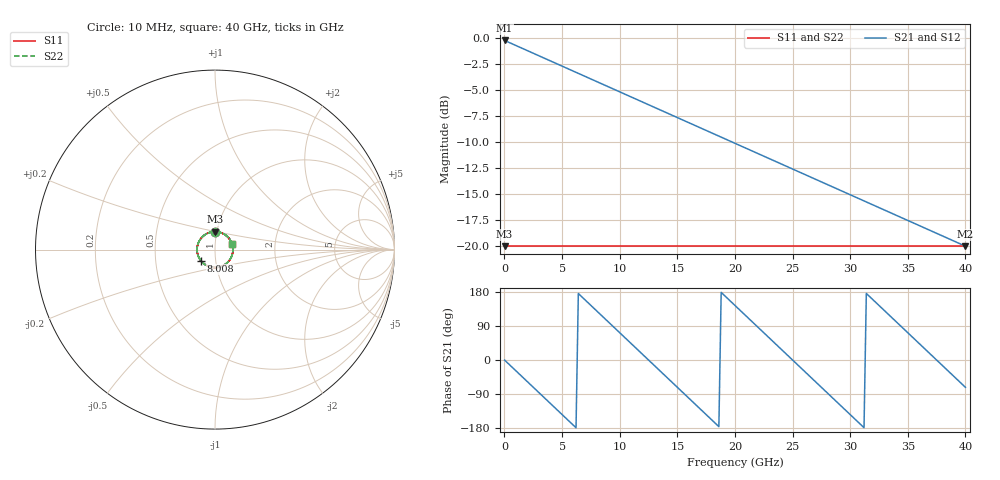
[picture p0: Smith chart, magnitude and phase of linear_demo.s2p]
! Generated by insertion_loss_tool
! Matrix convention: Sij means output port i due to input port j
# GHZ S RI R 50
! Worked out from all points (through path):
!   201 points, 10 MHz to 40 GHz, reference 50 ohm
!   highest |S21| = -0.20 dB at 10 MHz (marker M1); lowest = -20.0 dB at 40 GHz (marker M2)
!   group delay of S21, straight-line fit = 80 ps
!   lowest |S11| = -20.0 dB at 10 MHz (marker M3), VSWR 1.22, Z = 49.1 + j9.91 ohm
!   |S11| at or under -10 dB: start of sweep to end of sweep
!   |S22| runs from -20.0 to -20.0 dB; largest |S21 - S12| = 0
!   S11 on the Smith chart (normalised r, x): 10 MHz: 0.98, +0.20; 8.008 GHz: 0.85, -0.11; 40 GHz: 1.21, +0.08
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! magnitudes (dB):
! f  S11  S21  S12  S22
! 10 MHz  -20.0  -0.2  -0.2  -20.0
! 809.8 MHz  -20.0  -0.6  -0.6  -20.0
! 1.01 GHz  -20.0  -0.7  -0.7  -20.0
! 1.21 GHz  -20.0  -0.8  -0.8  -20.0
! 1.41 GHz  -20.0  -0.9  -0.9  -20.0
! 1.61 GHz  -20.0  -1.0  -1.0  -20.0
! 2.409 GHz  -20.0  -1.4  -1.4  -20.0
! 2.609 GHz  -20.0  -1.5  -1.5  -20.0
! 3.009 GHz  -20.0  -1.7  -1.7  -20.0
! 6.808 GHz  -20.0  -3.6  -3.6  -20.0
! 8.008 GHz  -20.0  -4.2  -4.2  -20.0
! 13.41 GHz  -20.0  -6.8  -6.8  -20.0
! 20 GHz  -20.0  -10.1  -10.1  -20.0
! 26.8 GHz  -20.0  -13.5  -13.5  -20.0
! 32.2 GHz  -20.0  -16.1  -16.1  -20.0
! 33.2 GHz  -20.0  -16.6  -16.6  -20.0
! 33.4 GHz  -20.0  -16.7  -16.7  -20.0
! 36 GHz  -20.0  -18.0  -18.0  -20.0
! 37.8 GHz  -20.0  -18.9  -18.9  -20.0
! 38 GHz  -20.0  -19.0  -19.0  -20.0
! 38.4 GHz  -20.0  -19.2  -19.2  -20.0
! 40 GHz  -20.0  -20.0  -20.0  -20.0
